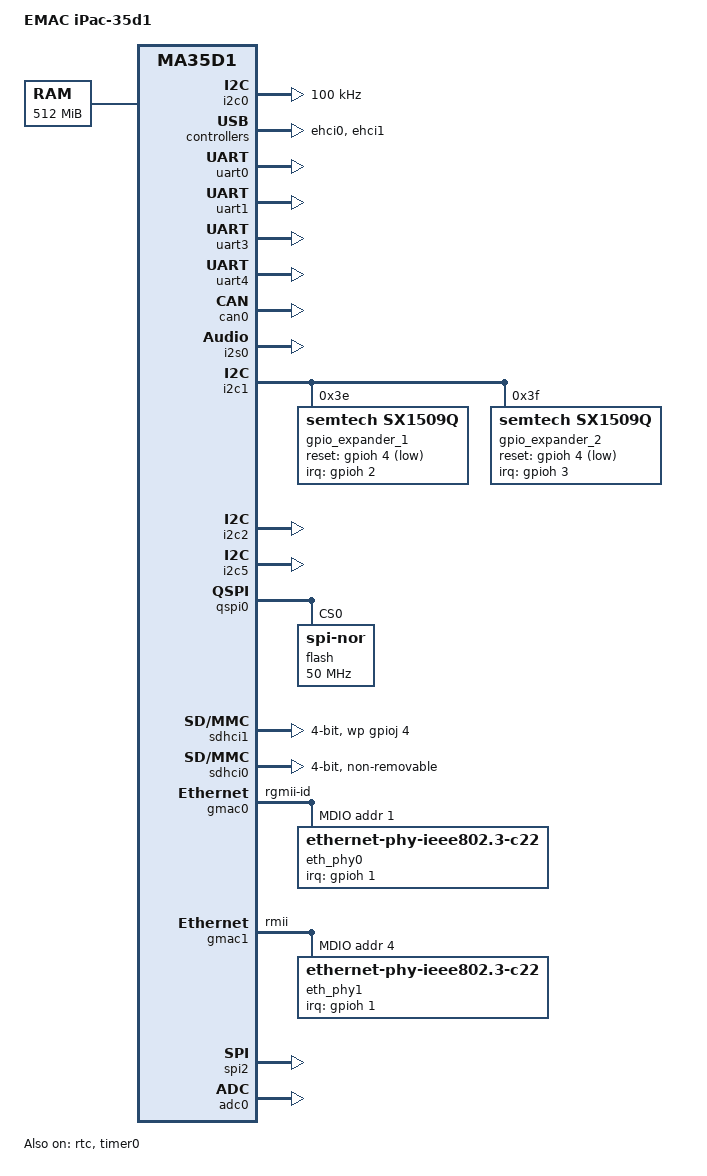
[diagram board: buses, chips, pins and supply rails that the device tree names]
// SPDX-License-Identifier: GPL-2.0-or-later
/*
 * Device Tree Include file for the SoM-35D1F
 *
 * Copyright (C) 2024 EMAC Inc.
 *
 */

/dts-v1/;

#include "ma35d1.dtsi"
#include <dt-bindings/leds/common.h>
#include <dt-bindings/net/mscc-phy-vsc8531.h>
#include <dt-bindings/gpio/gpio.h>
#include <dt-bindings/interrupt-controller/irq.h>

/ {
	model = "EMAC iPac-35d1";
	compatible = "emac,iPac35d1", "nuvoton,ma35d1";
	chosen {
		bootargs = "root=/dev/mmcblk0p1 rootfstype=ext4 rw rootwait console=ttyS0,115200n8 rdinit=/sbin/init mem=512M";
	};
	memory {
                device_type = "memory";
		reg = <0x00000000 0x80000000 0 0x20000000>; /* DRAM space - 1, size : 512MB DRAM */
        };
	clock_ksz8081_in: clock-ksz8081-in {
		compatible = "fixed-clock";
		#clock-cells = <0>;
		clock-frequency = <25000000>;
	};
	pcfg_sdhci_drive2_3_3V_bias_pull_up: pcfg_sdhci_drive2_3_3V_bias_pull_up {
		slew-rate = <0>; /* 0:normal, 1:high */
		input-schmitt-enable;  /* input-schmitt-disable, input-schmitt-enable */
		bias-pull-up; /* bias-disable, bias-pull-up, bias-pull-down  */
		power-source = <3300>; /* 1800:1.8v , 3300:3.3v */
		drive-strength = <2>; /* 0 ~ 7 */
	};
	i2c0: i2c@40800000 {
                compatible = "nuvoton,ma35h1-i2c";
                reg = <0x0 0x40800000 0x0 0x10000>;
                interrupts = <GIC_SPI 13 IRQ_TYPE_LEVEL_HIGH>;
                clocks = <&clk I2C0_GATE>;
                clock-frequency = <100000>;
                resets = <&reset MA35D1_RESET_I2C0>;
                #address-cells = <1>;
                #size-cells = <0>;
                status = "disable";
        };
};

&rtc {
	status = "okay";
};

&ehci0 {
        pinctrl-names = "default";
        pinctrl-0 = <&pinctrl_hsusb0>;
        status = "okay";
};

&ehci1 {
	status = "okay";
        oc-active-level = <1>;
};

&uart0{
	status = "okay";
	pinctrl-names = "default";
	pinctrl-0 = <&pinctrl_uart0>;
};
&uart1 {
	status = "okay";
	pinctrl-names = "default";
	pinctrl-0 = <&pinctrl_uart1>;
	uart-has-rtscts;
};

&uart3 {
	status = "okay";
	pinctrl-names = "default";
	pinctrl-0 = <&pinctrl_uart3>;
	uart-has-rtscts;
};
&uart4 {
	status = "okay";
	pinctrl-names = "default";
	pinctrl-0 = <&pinctrl_uart4>;
	uart-has-rtscts;
};

&can0 {
        status = "okay";
        pinctrl-names = "default";
        pinctrl-0 = <&pinctrl_can0>;
};

&i2s0{
	status = "okay";
	pinctrl-names = "default";
        pinctrl-0 = <&pinctrl_i2s0>;
};

&i2c0{
	pinctrl-names = "default";
        pinctrl-0 = <&pinctrl_i2c0>;
	status = "okay";
};

&i2c1 {
	pinctrl-names = "default";
	pinctrl-0 = <&pinctrl_i2c1>;
	status = "okay";
	#address-cells = <1>;
	#size-cells = <0>;
	gpio_expander_1@3e{
                #gpio-cells = <2>;
                #interrupt-cells = <2>;
                compatible = "semtech,sx1509q";
                reg = <0x3e>;
                interrupt-parent = <&gpioh>;
                interrupts = <2 IRQ_TYPE_EDGE_FALLING>;
                gpio-controller;
                interrupt-controller;
		pinctrl-names = "default";
                pinctrl-0 = <&pinctrl_gpio_expander_1_int>,<&gpio_expander_1_pins>;
		reset-gpios =  <&gpioh 4 GPIO_ACTIVE_LOW>;
		semtech,probe-reset;
		gpio-line-names = "EXT0_GPIO/PWM0", "EXT0_GPIO/PWM1", "EXT0_GPIO/PWM2", "EXT0_GPIO/PWM3",
                                  "EXT0_GPIO/PWM4", "EXT0_GPIO/PWM5", "EXT0_GPIO/PWM6", "EXT0_GPIO/PWM7",
                                  "EXT0_GPIO/PWM8", "EXT0_GPIO/PWM9", "EXT0_GPIO/PWM10", "EXT0_GPIO/PWM11",
                                  "EXT0_GPIO/PWM12", "EXT0_GPIO/PWM13", "EXT0_GPIO/PWM14", "EXT0_GPIO/PWM15";
                gpio_expander_1_pins: gpio1-cfg {
                        pins =  "gpio0","gpio1",
				"gpio2","gpio3",
				"gpio4","gpio5",
				"gpio6","gpio7",
				"gpio8","gpio9",
				"gpio10","gpio11",
				"gpio12","gpio13",
				"gpio14","gpio15";
			drive-push-pull;
                };
        };
	gpio_expander_2@3f{
                #gpio-cells = <2>;
                #interrupt-cells = <2>;
                compatible = "semtech,sx1509q";
                reg = <0x3f>;
                interrupt-parent = <&gpioh>;
                interrupts = <3 IRQ_TYPE_EDGE_FALLING>;
                gpio-controller;
                interrupt-controller;
                pinctrl-names = "default";
                pinctrl-0 = <&pinctrl_gpio_expander_2_int>,<&gpio_expander_2_pins>;
		reset-gpios =  <&gpioh 4 GPIO_ACTIVE_LOW>;
		semtech,probe-reset;
		gpio-line-names = "EXT1_GPIO/PWM0", "EXT1_GPIO/PWM1", "EXT1_GPIO/PWM2", "EXT1_GPIO/PWM3",
                                  "EXT1_GPIO/PWM4", "EXT1_GPIO/PWM5", "EXT1_GPIO/PWM6", "EXT1_GPIO/PWM7",
                                  "EXT1_GPIO/PWM8", "EXT1_GPIO/PWM9", "EXT1_GPIO/PWM10", "EXT1_GPIO/PWM11",
                                  "EXT1_GPIO/PWM12", "EXT1_GPIO/PWM13", "EXT1_GPIO/PWM14", "EXT1_GPIO/PWM15";
                gpio_expander_2_pins: gpio2-cfg {
			pins =  "gpio0","gpio1",
                                "gpio2","gpio3",
                                "gpio4","gpio5",
                                "gpio6","gpio7",
                                "gpio8","gpio9",
                                "gpio10","gpio11",
                                "gpio12","gpio13",
                                "gpio14","gpio15";
			drive-push-pull;
                };
        };

};

&gpiod{
	gpio-line-names = "", "", "", "",
			  "", "", "", "",
			  "", "", "", "LOW_POWER_EN",
			  "", "", "", "";
};

&gpioh{
	gpio-line-names = "", "", "", "",
                          "", "COMA_ONLINE", "COMB_PWRDN", "COMC_ONLINE",
                          "", "", "", "",
                          "", "", "", "";
};

&gpioi{
	gpio-line-names = "", "", "", "",
                          "", "", "", "",
                          "", "", "4xx_Rx_EN", "CAN_STB",
                          "RS485_TRM_EN", "", "", "";
};

&i2c2{
	pinctrl-names = "default";
	pinctrl-0 = <&pinctrl_i2c2>;
	status = "okay";
	#address-cells = <1>;
        #size-cells = <0>;
};

&i2c5{
        pinctrl-names = "default";
        pinctrl-0 = <&pinctrl_i2c5>;
        status = "okay";
        #address-cells = <1>;
        #size-cells = <0>;
};

&qspi0 {
	status = "okay";
	pinctrl-names = "default";
	pinctrl-0 = <&pinctrl_qspi0>;
	num_cs = <1>;
	/delete-node/ spi@1;
	flash@0 {
                /* W25Q128 */
                compatible = "jedec,spi-nor";
                spi-max-frequency = <50000000>;
                reg = <0>;
        };
};

&sdhci1 {
        pinctrl-names = "default";
        pinctrl-0 = <&pinctrl_sdhci1>;
        status = "okay";
	bus-width = <4>;
	wp-gpios = <&gpioj 4 GPIO_ACTIVE_HIGH>;
	no-1-8-v;
	/* 
	   Based on datasheet, the 4-bits data line supports up to 25MBps.
	   Cap the SD speed to 25MBps.
	*/
	sd-uhs-sdr25;
	sd-uhs-sdr12;
	cap-sd-highspeed;
};

// eMMC
&sdhci0 {
        status = "okay";
        pinctrl-names = "default";
        pinctrl-0 = <&pinctrl_emmc0>;
        bus-width = <4>;
        non-removable;
	broken-cd;
        no-1-8-v;
	/delete-property/ cd-gpios;
	/delete-property/ wp-gpios;
	disable-wp;
};


&gmac0 {
	status = "okay";
	pinctrl-names = "default";
	pinctrl-0 = <&pinctrl_gmac0>;
	phy-mode = "rgmii-id";
	mdio {
		eth_phy0: ethernet-phy@0 {
                        compatible = "ethernet-phy-ieee802.3-c22";
                        interrupts-extended = <&gpioh 1 IRQ_TYPE_LEVEL_LOW>;
                        reg = <1>;
                };
	};
};

&gmac1 {
	status = "okay";
	pinctrl-names = "default";
	pinctrl-0 = <&pinctrl_gmac1>;
	phy-mode = "rmii";
	mdio {
		eth_phy1: ethernet-phy@1 {
			compatible = "ethernet-phy-ieee802.3-c22";
			reg = <4>;
			micrel,led-mode = <1>;
			clocks = <&clock_ksz8081_in>;
			clock-names = "rmii-ref";
			interrupts-extended = <&gpioh 1 IRQ_TYPE_LEVEL_LOW>;
		};
	};
};

&spi2{
	status = "okay";
	pinctrl-names = "default";
	pinctrl-0 = <&pinctrl_spi2>;
	spi-max-frequency = <5000000>;
};

&adc0 {
	compatible = "nuvoton,ma35-adc";
	status = "okay";
	pinctrl-names = "default";
	pinctrl-0 = <&pinctrl_adc0>;
};

&timer0 {
	status = "okay";
	pinctrl-names = "default";
        pinctrl-0 = <&pinctrl_timer0>;	
};

&pinctrl {
	pinctrl-names = "default";
        pinctrl-0 = <&pintctrl_gpios>;
	/* 
		FOr those pins used for general GPIO, shared INT, shared reset
		Pin-mux them pin in here.
		For those pin are used by particular hardware interface, pinmux them sololly.
	*/
	gpios{
		pintctrl_gpios: gpiosgrp{
                        nuvoton,pins =
				/* Boot options and Interrupts */
                                <SYS_GPG_MFPL_PG7MFP_GPIO			&pcfg_default>,
                                <SYS_GPG_MFPL_PG6MFP_GPIO			&pcfg_default>,
				<SYS_GPG_MFPL_PG5MFP_GPIO                       &pcfg_default>,
                                <SYS_GPG_MFPL_PG4MFP_GPIO                       &pcfg_default>,
				<SYS_GPG_MFPL_PG3MFP_GPIO                       &pcfg_default>,
                                <SYS_GPG_MFPL_PG2MFP_GPIO                       &pcfg_default>,
				<SYS_GPG_MFPL_PG1MFP_GPIO                       &pcfg_default>,
                                <SYS_GPG_MFPL_PG0MFP_GPIO                       &pcfg_default>,
				/* GPIOs pin on U1C */
				<SYS_GPC_MFPL_PC6MFP_GPIO                       &pcfg_default>,
				<SYS_GPC_MFPL_PC7MFP_GPIO                       &pcfg_default>,
				<SYS_GPD_MFPH_PD10MFP_GPIO                      &pcfg_default>,
				<SYS_GPD_MFPH_PD11MFP_GPIO                      &pcfg_default>,
				<SYS_GPH_MFPL_PH0MFP_GPIO                       &pcfg_default>,
				<SYS_GPH_MFPL_PH1MFP_GPIO                       &pcfg_default>,
				<SYS_GPH_MFPL_PH4MFP_GPIO                       &pcfg_default>,
				<SYS_GPH_MFPL_PH5MFP_GPIO                       &pcfg_default>,
				<SYS_GPH_MFPL_PH6MFP_GPIO                       &pcfg_default>,
				<SYS_GPH_MFPL_PH7MFP_GPIO                       &pcfg_default>,
				<SYS_GPI_MFPH_PI10MFP_GPIO                      &pcfg_default>,
				<SYS_GPI_MFPH_PI11MFP_GPIO                      &pcfg_default>,
				<SYS_GPI_MFPH_PI12MFP_GPIO                      &pcfg_default>,
				/* High Driver GPIO */
				<SYS_GPC_MFPH_PC12MFP_GPIO			&pcfg_default>,
				<SYS_GPC_MFPH_PC13MFP_GPIO			&pcfg_default>,
				<SYS_GPC_MFPH_PC14MFP_GPIO			&pcfg_default>,
				<SYS_GPC_MFPH_PC15MFP_GPIO			&pcfg_default>,
				<SYS_GPH_MFPH_PH12MFP_GPIO			&pcfg_default>,
				<SYS_GPH_MFPH_PH13MFP_GPIO			&pcfg_default>,
				<SYS_GPH_MFPH_PH14MFP_GPIO			&pcfg_default>,
				<SYS_GPH_MFPH_PH15MFP_GPIO			&pcfg_default>,
				<SYS_GPA_MFPH_PA10MFP_GPIO			&pcfg_default>,
				<SYS_GPA_MFPH_PA11MFP_GPIO			&pcfg_default>,
				<SYS_GPA_MFPH_PA12MFP_GPIO			&pcfg_default>,
				<SYS_GPA_MFPH_PA13MFP_GPIO			&pcfg_default>,
				/* PMIC_nIRQ */
				<SYS_GPA_MFPH_PA15MFP_GPIO                      &pcfg_default>;
                };

	};
	gpio_expander_1{
		pinctrl_gpio_expander_1_int: gpioexpander1grp{
			nuvoton,pins =
				<SYS_GPH_MFPL_PH2MFP_GPIO                       &pcfg_default>;
		};
	};
	gpio_expander_2{ 
                pinctrl_gpio_expander_2_int: gpioexpander2grp{ 
                        nuvoton,pins =
				<SYS_GPH_MFPL_PH3MFP_GPIO                       &pcfg_default>;
                };
        };
        hsusb0 {
                pinctrl_hsusb0: hsusb0grp{
                        nuvoton,pins =
				<SYS_GPL_MFPH_PL13MFP_HSUSBH_OVC		&pcfg_default>,
                                <SYS_GPL_MFPH_PL12MFP_HSUSBH_PWREN              &pcfg_default>,
                                <SYS_GPF_MFPH_PF15MFP_HSUSB0_VBUSVLD            &pcfg_default>;
                };
        };

	uart0 {
		pinctrl_uart0: uart0grp{
			nuvoton,pins =
				<SYS_GPE_MFPH_PE14MFP_UART0_TXD         &pcfg_default>,
				<SYS_GPE_MFPH_PE15MFP_UART0_RXD         &pcfg_default>;
		};
	};
	uart1 {
		pinctrl_uart1: uart1grp{
			nuvoton,pins =
				<SYS_GPA_MFPL_PA3MFP_UART1_TXD      &pcfg_default>,
				<SYS_GPA_MFPL_PA2MFP_UART1_RXD      &pcfg_default>,
				<SYS_GPA_MFPL_PA1MFP_UART1_nRTS     &pcfg_default>,
				<SYS_GPA_MFPL_PA0MFP_UART1_nCTS     &pcfg_default>,
				<SYS_GPM_MFPL_PM2MFP_GPIO           &pcfg_default>,
				<SYS_GPM_MFPL_PM3MFP_GPIO           &pcfg_default>,
				<SYS_GPM_MFPL_PM4MFP_GPIO           &pcfg_default>,
				<SYS_GPM_MFPL_PM5MFP_GPIO           &pcfg_default>;
		};
	};
	uart3 {
		pinctrl_uart3: uartgrp3{
			nuvoton,pins =
				<SYS_GPA_MFPL_PA7MFP_UART3_TXD      &pcfg_default>,
				<SYS_GPA_MFPL_PA6MFP_UART3_RXD      &pcfg_default>,
				<SYS_GPA_MFPL_PA5MFP_UART3_nRTS     &pcfg_default>,
				<SYS_GPA_MFPL_PA4MFP_UART3_nCTS     &pcfg_default>;
		};
	};
	uart4 {
		pinctrl_uart4: uart4grp{
			nuvoton,pins =
				<SYS_GPA_MFPH_PA9MFP_UART4_TXD      &pcfg_default>,
				<SYS_GPA_MFPH_PA8MFP_UART4_RXD      &pcfg_default>,
				<SYS_GPI_MFPH_PI9MFP_UART4_nRTS     &pcfg_default>,
				<SYS_GPI_MFPH_PI8MFP_UART4_nCTS     &pcfg_default>;
		};
	};

	can0 {
                pinctrl_can0: can0grp{
                        nuvoton,pins =
                                <SYS_GPN_MFPL_PN3MFP_CAN0_TXD   &pcfg_default>,
                                <SYS_GPM_MFPL_PM6MFP_CAN0_RXD   &pcfg_default>;
                };
	};
        
	i2s0 {
                pinctrl_i2s0: i2s0grp{
                        nuvoton,pins =
                                <SYS_GPG_MFPH_PG11MFP_I2S0_MCLK   &pcfg_default>,
                                <SYS_GPG_MFPH_PG12MFP_I2S0_LRCK   &pcfg_default>,
				<SYS_GPG_MFPH_PG13MFP_I2S0_BCLK   &pcfg_default>,
                                <SYS_GPG_MFPH_PG14MFP_I2S0_DI	  &pcfg_default>,
				<SYS_GPG_MFPH_PG15MFP_I2S0_DO     &pcfg_default>;
                };
        };

	i2c0 {
                pinctrl_i2c0: i2c0grp{
                        nuvoton,pins =
                                <SYS_GPD_MFPL_PD7MFP_I2C0_SCL   &pcfg_default>,
                                <SYS_GPD_MFPL_PD6MFP_I2C0_SDA   &pcfg_default>;
                };
        };

	i2c1 {
		pinctrl_i2c1: i2c1grp{
			nuvoton,pins =
				<SYS_GPN_MFPL_PN4MFP_I2C1_SDA	&pcfg_default>,
				<SYS_GPN_MFPL_PN5MFP_I2C1_SCL	&pcfg_default>;
		};
	};

	i2c2 {
		pinctrl_i2c2: i2c2grp{
			nuvoton,pins =
				<SYS_GPN_MFPL_PN1MFP_I2C2_SCL  &pcfg_default>,
				<SYS_GPN_MFPL_PN0MFP_I2C2_SDA  &pcfg_default>;
		};
	};

	i2c5 {
                pinctrl_i2c5: i2c5grp{
                        nuvoton,pins =
                                <SYS_GPN_MFPH_PN13MFP_I2C5_SCL  &pcfg_default>,
                                <SYS_GPN_MFPH_PN12MFP_I2C5_SDA  &pcfg_default>;
                };
        };

	qspi0 {
		pinctrl_qspi0: qspi0grp{
			nuvoton,pins =
				<SYS_GPD_MFPL_PD1MFP_QSPI0_CLK          &pcfg_default>,
				<SYS_GPD_MFPL_PD0MFP_QSPI0_SS0		&pcfg_default>,
				<SYS_GPD_MFPL_PD2MFP_QSPI0_MOSI0	&pcfg_default>,
				<SYS_GPD_MFPL_PD3MFP_QSPI0_MISO0	&pcfg_default>,
				<SYS_GPD_MFPL_PD4MFP_QSPI0_MOSI1	&pcfg_default>,
				<SYS_GPD_MFPL_PD5MFP_QSPI0_MISO1	&pcfg_default>,
				<SYS_GPD_MFPL_PD0MFP_QSPI0_SS0          &pcfg_default>;
		};
	};

	sdhci1{
		pinctrl_sdhci1: sdhci1grp{
			nuvoton,pins =
                                <SYS_GPJ_MFPL_PJ7MFP_SD1_CLK            &pcfg_sdhci_drive2_3_3V>,
                                <SYS_GPJ_MFPH_PJ8MFP_SD1_DAT0           &pcfg_sdhci_drive2_3_3V>,
                                <SYS_GPJ_MFPH_PJ9MFP_SD1_DAT1           &pcfg_sdhci_drive2_3_3V>,
                                <SYS_GPJ_MFPH_PJ10MFP_SD1_DAT2          &pcfg_sdhci_drive2_3_3V>,
                                <SYS_GPJ_MFPH_PJ11MFP_SD1_DAT3          &pcfg_sdhci_drive2_3_3V>,
                                <SYS_GPJ_MFPL_PJ6MFP_SD1_CMD            &pcfg_sdhci_drive2_3_3V>,
				<SYS_GPJ_MFPL_PJ4MFP_SD1_WP             &pcfg_sdhci_drive2_3_3V>,
				/*
					The nCD pin to SoC is floating.
					This nCD required external pull-up resistor.
					Enabled internal pull up bias as work around until hardware design fix it.
				*/
				<SYS_GPJ_MFPL_PJ5MFP_SD1_nCD            &pcfg_sdhci_drive2_3_3V_bias_pull_up>;
		};
	};
	
	// mmc
        emmc0 {
                pinctrl_emmc0: emmc0grp{
                        nuvoton,pins =
                                <SYS_GPC_MFPL_PC0MFP_eMMC0_CMD          &pcfg_sdhci_drive2_3_3V>,
                                <SYS_GPC_MFPL_PC1MFP_eMMC0_CLK          &pcfg_sdhci_drive2_3_3V>,
                                <SYS_GPC_MFPL_PC2MFP_eMMC0_DAT0         &pcfg_sdhci_drive2_3_3V>,
                                <SYS_GPC_MFPL_PC3MFP_eMMC0_DAT1         &pcfg_sdhci_drive2_3_3V>,
                                <SYS_GPC_MFPL_PC4MFP_eMMC0_DAT2         &pcfg_sdhci_drive2_3_3V>,
                                <SYS_GPC_MFPL_PC5MFP_eMMC0_DAT3         &pcfg_sdhci_drive2_3_3V>;
                };
        };

	gmac0 {
		pinctrl_gmac0: gmac0grp{
			nuvoton,pins =
				<SYS_GPE_MFPH_PE13MFP_RGMII0_TXD3	&pcfg_emac_3_3V>,
				<SYS_GPE_MFPH_PE12MFP_RGMII0_TXD2	&pcfg_emac_3_3V>,
				<SYS_GPE_MFPL_PE4MFP_RGMII0_TXD1	&pcfg_emac_3_3V>,
				<SYS_GPE_MFPL_PE3MFP_RGMII0_TXD0	&pcfg_emac_3_3V>,
				<SYS_GPE_MFPL_PE2MFP_RGMII0_TXCTL	&pcfg_emac_3_3V>,
				<SYS_GPE_MFPH_PE11MFP_RGMII0_TXCLK	&pcfg_emac_3_3V>,
				<SYS_GPE_MFPH_PE10MFP_RGMII0_RXD3	&pcfg_emac_3_3V>,
				<SYS_GPE_MFPH_PE9MFP_RGMII0_RXD2	&pcfg_emac_3_3V>,
				<SYS_GPE_MFPH_PE8MFP_RGMII0_RXD1	&pcfg_emac_3_3V>,
				<SYS_GPE_MFPL_PE7MFP_RGMII0_RXD0	&pcfg_emac_3_3V>,
				<SYS_GPE_MFPL_PE6MFP_RGMII0_RXCTL	&pcfg_emac_3_3V>,
				<SYS_GPE_MFPL_PE5MFP_RGMII0_RXCLK	&pcfg_emac_3_3V>,
				<SYS_GPE_MFPL_PE1MFP_RGMII0_MDIO	&pcfg_emac_3_3V>,
				<SYS_GPE_MFPL_PE0MFP_RGMII0_MDC		&pcfg_emac_3_3V>;
		};
	};
	gmac1 {
                pinctrl_gmac1: gmac1grp{
                        nuvoton,pins =
                                <SYS_GPF_MFPL_PF6MFP_RMII1_CRSDV        &pcfg_emac_3_3V>,
                                <SYS_GPF_MFPH_PF9MFP_RMII1_RXERR        &pcfg_emac_3_3V>,
                                <SYS_GPF_MFPH_PF8MFP_RMII1_RXD1         &pcfg_emac_3_3V>,
                                <SYS_GPF_MFPL_PF7MFP_RMII1_RXD0         &pcfg_emac_3_3V>,
                                <SYS_GPF_MFPL_PF5MFP_RMII1_REFCLK       &pcfg_emac_3_3V>,
                                <SYS_GPF_MFPL_PF4MFP_RMII1_TXD1         &pcfg_emac_3_3V>,
                                <SYS_GPF_MFPL_PF3MFP_RMII1_TXD0         &pcfg_emac_3_3V>,
                                <SYS_GPF_MFPL_PF2MFP_RMII1_TXEN         &pcfg_emac_3_3V>,
                                <SYS_GPF_MFPL_PF1MFP_RMII1_MDIO         &pcfg_emac_3_3V>,
                                <SYS_GPF_MFPL_PF0MFP_RMII1_MDC          &pcfg_emac_3_3V>;
                };
        };

	spi2 {
		pinctrl_spi2: spi2grp {
			nuvoton,pins =
				<SYS_GPG_MFPH_PG9MFP_SPI2_CLK		&pcfg_default>,
				<SYS_GPK_MFPL_PK4MFP_SPI2_MISO		&pcfg_default>,
				<SYS_GPG_MFPH_PG8MFP_SPI2_SS0		&pcfg_default>,
				<SYS_GPM_MFPH_PM11MFP_SPI2_SS1		&pcfg_default>;
		};
        };

	adc0 {
		pinctrl_adc0: adc0grp {
			nuvoton,pins =
				<SYS_GPB_MFPH_PB8MFP_ADC0_CH0			&pcfg_default>,
				<SYS_GPB_MFPH_PB9MFP_ADC0_CH1			&pcfg_default>,
				<SYS_GPB_MFPH_PB10MFP_ADC0_CH2			&pcfg_default>,
				<SYS_GPB_MFPH_PB11MFP_ADC0_CH3			&pcfg_default>,
				<SYS_GPB_MFPH_PB12MFP_ADC0_CH4			&pcfg_default>,
				<SYS_GPB_MFPH_PB13MFP_ADC0_CH5			&pcfg_default>,
				<SYS_GPB_MFPH_PB14MFP_ADC0_CH6			&pcfg_default>,
				<SYS_GPB_MFPH_PB15MFP_ADC0_CH7			&pcfg_default>;
		};
	};
	
	timer0 {
		pinctrl_timer0: timer0grp {
			nuvoton,pins =
				<SYS_GPD_MFPH_PD8MFP_TM0			&pcfg_default>,
				<SYS_GPD_MFPH_PD9MFP_TM0_EXT			&pcfg_default>;
		};
	};
};
